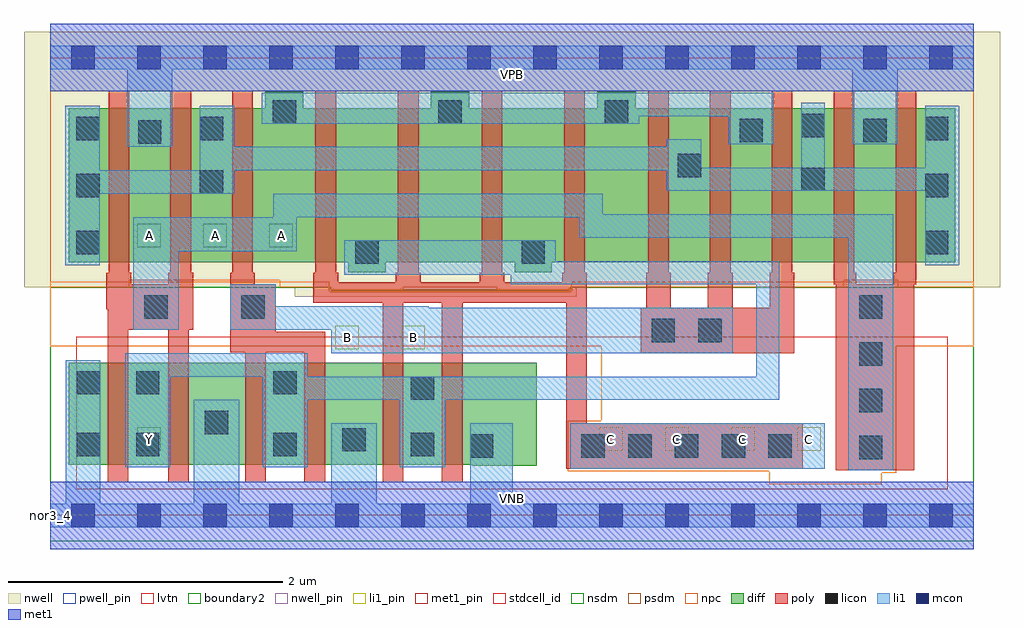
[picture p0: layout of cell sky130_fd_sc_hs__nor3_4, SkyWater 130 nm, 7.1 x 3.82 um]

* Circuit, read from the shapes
.subckt sky130_fd_sc_hs__nor3_4 A B C VGND VNB VPB VPWR Y
XM1 Y A VGND VNB sky130_fd_pr__nfet_01v8_lvt w=0.74 l=0.15 m=2
XM2 Y B VGND VNB sky130_fd_pr__nfet_01v8_lvt w=0.74 l=0.15 m=2
XM3 Y C VGND VNB sky130_fd_pr__nfet_01v8_lvt w=0.74 l=0.15 m=2
XM4 VPWR A n1 VPB sky130_fd_pr__pfet_01v8 w=1.12 l=0.15 m=4
XM5 n2 B n1 VPB sky130_fd_pr__pfet_01v8 w=1.12 l=0.15 m=4
XM6 Y C n2 VPB sky130_fd_pr__pfet_01v8 w=1.12 l=0.15 m=4
.ends

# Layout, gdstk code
import gdstk
lib = gdstk.Library(unit=1e-6, precision=1e-09)
def R(c, l, rs):  # rectangles x0, y0, x1, y1
    for r in rs: c.add(gdstk.rectangle(r[:2], r[2:], *l))
def A(c, l, x, y, w, h, nx, ny, dx, dy):  # array of equal rectangles
    R(c, l, [(x+i*dx, y+j*dy, x+i*dx+w, y+j*dy+h) for i in range(nx) for j in range(ny)])
def P(c, l, *ps):  # polygons
    for p in ps: c.add(gdstk.Polygon(p, *l))
nwell_pin = (64, 16)
nwell = (64, 20)
diff = (65, 20)
poly = (66, 20)
licon = (66, 44)
li1_pin = (67, 16)
li1 = (67, 20)
mcon = (67, 44)
met1_pin = (68, 16)
met1 = (68, 20)
stdcell_id = (81, 4)
nsdm = (93, 44)
psdm = (94, 20)
npc = (95, 20)
pwell_pin = (122, 16)
lvtn = (125, 44)
boundary2 = (236, 0)

sky130_fd_sc_hs__nor3_4 = lib.new_cell('sky130_fd_sc_hs__nor3_4')
R(sky130_fd_sc_hs__nor3_4, nwell_pin, [(0,3.085,6.72,3.33)])
P(sky130_fd_sc_hs__nor3_4, nwell, [(6.91,3.52),(-0.19,3.52),(-0.19,1.66),(1.78,1.66),(1.78,1.59),(3.83,1.59),(3.83,1.66),(6.91,1.66)])
P(sky130_fd_sc_hs__nor3_4, diff, [(3.54,1.11),(0.135,1.11),(0.135,0.37),(3.075,0.37),(3.075,0.36),(3.54,0.36)],
  [(6.585,2.96),(4.26,2.96),(4.26,3.08),(3.98,3.08),(3.98,2.96),(3.05,2.96),(3.05,3.08),(2.77,3.08),(2.77,2.96),(1.84,2.96),(1.84,3.08),(1.565,3.08),(1.565,2.96),(0.135,2.96),(0.135,1.84),(2.17,1.84),(2.17,1.77),(2.44,1.77),(2.44,1.84),(3.38,1.84),(3.38,1.77),(3.65,1.77),(3.65,1.84),(6.585,1.84)])
P(sky130_fd_sc_hs__nor3_4, poly, [(1.04,1.765),(1.025,1.765),(1.025,3.09),(0.875,3.09),(0.875,1.765),(0.86,1.765),(0.86,1.68),(0.59,1.68),(0.59,1.765),(0.575,1.765),(0.575,3.09),(0.425,3.09),(0.425,1.765),(0.41,1.765),(0.41,1.5),(0.42,1.5),(0.42,0.24),(0.57,0.24),(0.57,1.35),(0.86,1.35),(0.86,0.24),(1.01,0.24),(1.01,1.35),(1.04,1.35)],
  [(2,1.335),(1.64,1.335),(1.64,1.68),(1.49,1.68),(1.49,1.765),(1.475,1.765),(1.475,3.09),(1.325,3.09),(1.325,1.765),(1.31,1.765),(1.31,1.185),(1.42,1.185),(1.42,0.24),(1.57,0.24),(1.57,1.185),(1.85,1.185),(1.85,0.24),(2,0.24)],
  [(6.3,3.09),(6.15,3.09),(6.15,1.765),(6.135,1.765),(6.135,1.68),(5.865,1.68),(5.865,1.765),(5.85,1.765),(5.85,3.09),(5.7,3.09),(5.7,1.68),(5.715,1.68),(5.715,0.33),(6.285,0.33),(6.285,1.68),(6.3,1.68)],
  [(5.475,0.67),(3.905,0.67),(3.905,1.765),(3.89,1.765),(3.89,3.09),(3.74,3.09),(3.74,1.765),(3.725,1.765),(3.725,1.695),(3.305,1.695),(3.305,1.765),(3.29,1.765),(3.29,3.09),(3.14,3.09),(3.14,1.765),(3.125,1.765),(3.125,1.695),(2.695,1.695),(2.695,1.765),(2.68,1.765),(2.68,3.09),(2.53,3.09),(2.53,1.765),(2.515,1.765),(2.515,1.695),(2.095,1.695),(2.095,1.765),(2.08,1.765),(2.08,3.09),(1.93,3.09),(1.93,1.765),(1.915,1.765),(1.915,1.545),(2.42,1.545),(2.42,0.24),(2.57,0.24),(2.57,1.545),(2.85,1.545),(2.85,0.24),(3,0.24),(3,1.545),(3.755,1.545),(3.755,0.34),(5.475,0.34)],
  [(5.415,1.765),(5.4,1.765),(5.4,3.09),(5.25,3.09),(5.25,1.765),(5.235,1.765),(5.235,1.51),(4.965,1.51),(4.965,1.765),(4.95,1.765),(4.95,3.09),(4.8,3.09),(4.8,1.765),(4.785,1.765),(4.785,1.51),(4.515,1.51),(4.515,1.765),(4.5,1.765),(4.5,3.09),(4.35,3.09),(4.35,1.765),(4.335,1.765),(4.335,1.51),(4.295,1.51),(4.295,1.18),(5.415,1.18)])
A(sky130_fd_sc_hs__nor3_4, licon, 5.885, 0.41, 0.17, 0.17, 1, 4, 0, 0.34)
A(sky130_fd_sc_hs__nor3_4, licon, 3.865, 0.42, 0.17, 0.17, 5, 1, 0.34, 0)
A(sky130_fd_sc_hs__nor3_4, licon, 0.625, 0.43, 0.17, 0.17, 3, 1, 1, 0)
A(sky130_fd_sc_hs__nor3_4, licon, 0.19, 1.9, 0.17, 0.17, 1, 3, 0, 0.415)
A(sky130_fd_sc_hs__nor3_4, licon, 6.365, 1.9, 0.17, 0.17, 1, 3, 0, 0.415)
R(sky130_fd_sc_hs__nor3_4, licon, [(3.055,0.42,3.225,0.59), (0.195,0.43,0.365,0.6), (2.125,0.465,2.295,0.635), (1.125,0.59,1.295,0.76), (2.625,0.84,2.795,1.01), (0.195,0.88,0.365,1.05), (0.625,0.88,0.795,1.05), (1.625,0.88,1.795,1.05), (4.375,1.26,4.545,1.43), (4.715,1.26,4.885,1.43), (0.685,1.43,0.855,1.6), (1.39,1.43,1.56,1.6), (2.22,1.83,2.39,2), (3.43,1.83,3.6,2), (1.09,2.34,1.26,2.51), (5.465,2.36,5.635,2.53), (4.565,2.46,4.735,2.63), (0.64,2.705,0.81,2.875), (5.015,2.715,5.185,2.885), (5.915,2.715,6.085,2.885), (1.09,2.73,1.26,2.9), (5.465,2.75,5.635,2.92), (1.62,2.85,1.79,3.02), (2.825,2.85,2.995,3.02), (4.035,2.85,4.205,3.02)])
A(sky130_fd_sc_hs__nor3_4, li1_pin, 3.995, 0.47, 0.17, 0.17, 4, 1, 0.48, 0)
A(sky130_fd_sc_hs__nor3_4, li1_pin, 0.635, 1.95, 0.17, 0.17, 3, 1, 0.48, 0)
R(sky130_fd_sc_hs__nor3_4, li1_pin, [(0.635,0.47,0.805,0.64), (2.075,1.21,2.245,1.38), (2.555,1.21,2.725,1.38)])
R(sky130_fd_sc_hs__nor3_4, li1, [(3.785,0.34,5.635,0.67)])
P(sky130_fd_sc_hs__nor3_4, li1, [(0,-0.085),(0,0.085),(0.115,0.085),(0.115,1.13),(0.365,1.13),(0.365,0.085),(1.045,0.085),(1.045,0.84),(1.375,0.84),(1.375,0.085),(2.045,0.085),(2.045,0.67),(2.375,0.67),(2.375,0.085),(3.055,0.085),(3.055,0.67),(3.365,0.67),(3.365,0.085),(6.72,0.085),(6.72,-0.085)],
  [(0,3.245),(0,3.415),(6.72,3.415),(6.72,3.245),(6.165,3.245),(6.165,2.7),(5.835,2.7),(5.835,3.245),(0.89,3.245),(0.89,2.68),(0.56,2.68),(0.56,3.245)],
  [(0.605,1.35),(0.605,2.17),(1.625,2.17),(1.625,2.34),(4.02,2.34),(4.02,2.19),(6.135,2.19),(6.135,0.33),(5.805,0.33),(5.805,2.02),(3.85,2.02),(3.85,2.17),(1.795,2.17),(1.795,1.92),(0.935,1.92),(0.935,1.35)],
  [(1.64,1.52),(2.755,1.52),(2.755,1.51),(4.965,1.51),(4.965,1.18),(2.045,1.18),(2.045,1.35),(1.31,1.35),(1.31,1.68),(1.64,1.68)],
  [(0.545,0.35),(0.545,1.18),(1.875,1.18),(1.875,1.01),(5.135,1.01),(5.135,1.68),(3.35,1.68),(3.35,1.75),(2.14,1.75),(2.14,2),(3.68,2),(3.68,1.85),(5.305,1.85),(5.305,0.84),(2.875,0.84),(2.875,0.35),(2.545,0.35),(2.545,0.84),(1.875,0.84),(1.875,0.35),(1.545,0.35),(1.545,1.01),(0.875,1.01),(0.875,0.35)],
  [(1.34,2.68),(4.485,2.68),(4.485,2.735),(4.735,2.735),(4.735,2.53),(5.465,2.53),(5.465,3),(5.635,3),(5.635,2.53),(6.365,2.53),(6.365,2.98),(6.615,2.98),(6.615,1.82),(6.365,1.82),(6.365,2.36),(4.485,2.36),(4.485,2.51),(1.34,2.51),(1.34,2.34),(0.36,2.34),(0.36,1.82),(0.11,1.82),(0.11,2.98),(0.36,2.98),(0.36,2.51),(1.09,2.51),(1.09,2.98),(1.34,2.98)],
  [(1.54,2.85),(1.54,3.075),(5.265,3.075),(5.265,2.7),(4.935,2.7),(4.935,2.905),(4.285,2.905),(4.285,2.85)])
A(sky130_fd_sc_hs__nor3_4, mcon, 0.155, -0.085, 0.17, 0.17, 14, 2, 0.48, 3.33)
R(sky130_fd_sc_hs__nor3_4, met1_pin, [(0,0,6.72,0.245), (0,3.085,6.72,3.33)])
R(sky130_fd_sc_hs__nor3_4, met1, [(0,-0.245,6.72,0.245), (0,3.085,6.72,3.575)])
R(sky130_fd_sc_hs__nor3_4, stdcell_id, [(0,0,6.72,3.33)])
P(sky130_fd_sc_hs__nor3_4, nsdm, [(6.72,1.66),(3.78,1.66),(3.78,1.64),(2.04,1.64),(2.04,1.66),(0,1.66),(0,-0.19),(6.72,-0.19)])
P(sky130_fd_sc_hs__nor3_4, psdm, [(6.72,3.52),(0,3.52),(0,1.66),(0.575,1.66),(0.575,1.71),(1.67,1.71),(1.67,1.66),(2.04,1.66),(2.04,1.64),(2.57,1.64),(2.57,1.66),(3.25,1.66),(3.25,1.64),(3.78,1.64),(3.78,1.66),(5.775,1.66),(5.775,1.71),(6.165,1.71),(6.165,1.66),(6.72,1.66)])
P(sky130_fd_sc_hs__nor3_4, npc, [(6.72,1.7),(3.79,1.7),(3.79,1.63),(2.03,1.63),(2.03,1.7),(0,1.7),(0,1.23),(4.01,1.23),(4.01,0.69),(3.765,0.69),(3.765,0.32),(5.23,0.32),(5.23,0.225),(6.05,0.225),(6.05,0.31),(6.155,0.31),(6.155,1.23),(6.72,1.23)])
R(sky130_fd_sc_hs__nor3_4, pwell_pin, [(0,0,6.72,0.245)])
R(sky130_fd_sc_hs__nor3_4, lvtn, [(0.19,0.19,6.53,1.3)])
R(sky130_fd_sc_hs__nor3_4, boundary2, [(0,0,6.72,3.33)])
sky130_fd_sc_hs__nor3_4.add(gdstk.Label('nor3_4', (0,0), layer=83, texttype=44))
sky130_fd_sc_hs__nor3_4.add(gdstk.Label('VNB', (3.36,0.123), layer=64, texttype=59))
sky130_fd_sc_hs__nor3_4.add(gdstk.Label('VPB', (3.36,3.208), layer=64, texttype=5))
sky130_fd_sc_hs__nor3_4.add(gdstk.Label('VPWR', (3.36,3.208), layer=68, texttype=5))
sky130_fd_sc_hs__nor3_4.add(gdstk.Label('VGND', (3.36,0.123), layer=68, texttype=5))
sky130_fd_sc_hs__nor3_4.add(gdstk.Label('A', (0.72,2.035), layer=67, texttype=5))
sky130_fd_sc_hs__nor3_4.add(gdstk.Label('A', (1.2,2.035), layer=67, texttype=5))
sky130_fd_sc_hs__nor3_4.add(gdstk.Label('A', (1.68,2.035), layer=67, texttype=5))
sky130_fd_sc_hs__nor3_4.add(gdstk.Label('B', (2.16,1.295), layer=67, texttype=5))
sky130_fd_sc_hs__nor3_4.add(gdstk.Label('B', (2.64,1.295), layer=67, texttype=5))
sky130_fd_sc_hs__nor3_4.add(gdstk.Label('C', (4.08,0.555), layer=67, texttype=5))
sky130_fd_sc_hs__nor3_4.add(gdstk.Label('C', (4.56,0.555), layer=67, texttype=5))
sky130_fd_sc_hs__nor3_4.add(gdstk.Label('C', (5.04,0.555), layer=67, texttype=5))
sky130_fd_sc_hs__nor3_4.add(gdstk.Label('C', (5.52,0.555), layer=67, texttype=5))
sky130_fd_sc_hs__nor3_4.add(gdstk.Label('Y', (0.72,0.555), layer=67, texttype=5))

lib.write_gds('sky130_fd_sc_hs__nor3_4.gds')
